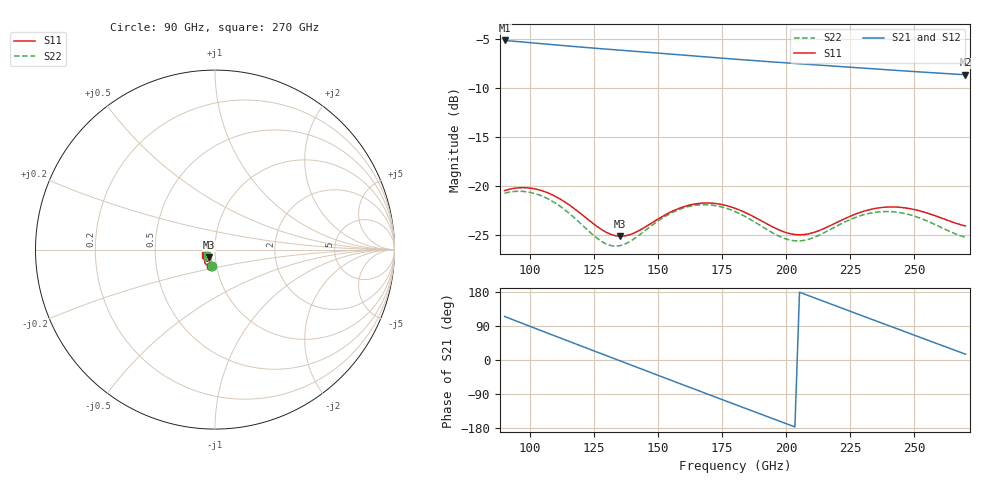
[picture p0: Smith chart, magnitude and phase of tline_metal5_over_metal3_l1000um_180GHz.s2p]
#  GHZ S DB R 50
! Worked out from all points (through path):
!   101 points, 90 GHz to 270 GHz, reference 50 ohm
!   highest |S21| = -5.19 dB at 90 GHz (marker M1); lowest = -8.7 dB at 270 GHz (marker M2)
!   group delay of S21, straight-line fit = 7.08 ps
!   lowest |S11| = -25.1 dB at 135 GHz (marker M3), VSWR 1.12, Z = 46.5 - j4.08 ohm
!   |S11| at or under -10 dB: start of sweep to end of sweep
!   |S22| runs from -26.1 to -20.5 dB; largest |S21 - S12| = 5.9e-14
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90  -20.45 -103.2  -5.19 114.9  -5.19 114.9  -20.71 -102.0
97.2  -20.15 -113.4  -5.35 96.0  -5.35 96.0  -20.53 -112.6
104.4  -20.45 -123.6  -5.51 77.2  -5.51 77.2  -20.98 -123.0
111.6  -21.30 -132.2  -5.68 58.4  -5.68 58.4  -22.03 -131.5
120.6  -22.97 -138.0  -5.88 35.2  -5.88 35.2  -24.02 -136.1
129.6  -24.68 -134.4  -6.07 12.0  -6.07 12.0  -25.87 -129.1
135  -25.09 -128.2  -6.17 -2.0  -6.17 -2.0  -26.06 -120.7
142.2  -24.56 -120.8  -6.32 -20.5  -6.32 -20.5  -25.05 -112.7
151.2  -23.15 -119.5  -6.50 -43.6  -6.50 -43.6  -23.32 -113.1
158.4  -22.23 -123.7  -6.65 -62.1  -6.65 -62.1  -22.35 -118.7
165.6  -21.76 -130.2  -6.80 -80.6  -6.80 -80.6  -21.91 -126.3
172.8  -21.78 -137.3  -6.94 -98.9  -6.94 -98.9  -22.00 -134.2
180  -22.25 -143.4  -7.09 -117.3  -7.09 -117.3  -22.58 -140.8
189  -23.34 -147.7  -7.26 -140.1  -7.26 -140.1  -23.85 -145.2
196.2  -24.33 -146.6  -7.40 -158.4  -7.40 -158.4  -24.96 -143.5
203.4  -24.92 -141.5  -7.53 -176.6  -7.53 -176.6  -25.56 -137.2
210.6  -24.72 -135.3  -7.65 165.1  -7.65 165.1  -25.24 -130.4
226.8  -22.87 -133.6  -7.94 124.1  -7.94 124.1  -23.21 -129.9
241.2  -22.11 -142.9  -8.20 87.7  -8.20 87.7  -22.59 -140.5
253.8  -22.63 -150.8  -8.41 56.0  -8.41 56.0  -23.40 -148.5
262.8  -23.45 -152.7  -8.56 33.4  -8.56 33.4  -24.47 -149.4
270  -24.05 -151.0  -8.67 15.4  -8.67 15.4  -25.19 -145.8
